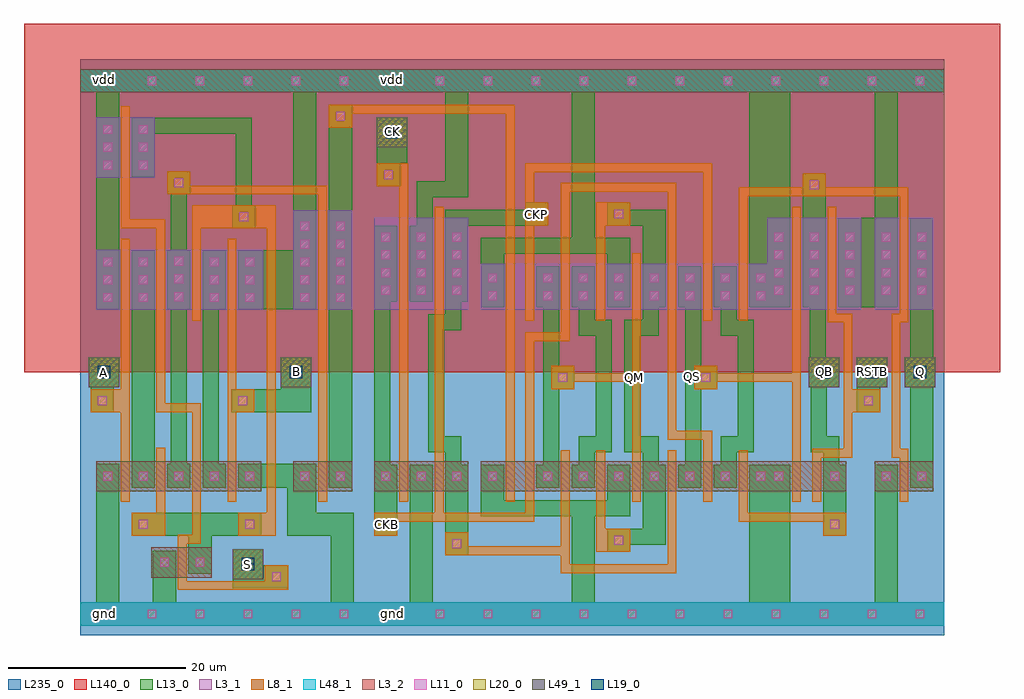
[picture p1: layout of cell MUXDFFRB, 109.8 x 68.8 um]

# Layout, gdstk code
import gdstk
lib = gdstk.Library(unit=1e-6, precision=1e-09)
def R(c, l, rs):  # rectangles x0, y0, x1, y1
    for r in rs: c.add(gdstk.rectangle(r[:2], r[2:], *l))
def A(c, l, x, y, w, h, nx, ny, dx, dy):  # array of equal rectangles
    R(c, l, [(x+i*dx, y+j*dy, x+i*dx+w, y+j*dy+h) for i in range(nx) for j in range(ny)])
def P(c, l, *ps):  # polygons
    for p in ps: c.add(gdstk.Polygon(p, *l))
L3_1 = (3, 1)
L3_2 = (3, 2)
L8_1 = (8, 1)
L11_0 = (11, 0)
L13_0 = (13, 0)
L19_0 = (19, 0)
L20_0 = (20, 0)
L48_1 = (48, 1)
L49_1 = (49, 1)
L140_0 = (140, 0)
L235_0 = (235, 0)

muxdffrb = lib.new_cell('MUXDFFRB')
R(muxdffrb, L3_1, [(0,1.1,32.4,3.7), (32.4,1.1,71.4,3.7), (71.4,1.1,97.2,3.7), (1.8,36.6,20.6,43.4), (24,36.6,30.6,47.8), (33.1,36.6,43.7,47), (45.1,36.6,71.4,41.8), (89.4,36.6,96,47), (1.8,51.5,8.4,58.3)])
P(muxdffrb, L3_1, [(71.4,36.6),(71.4,41.8),(77.3,41.8),(77.3,47),(87.9,47),(87.9,36.6)])
R(muxdffrb, L3_2, [(8,6.5,14.8,9.9), (1.8,16.2,20.4,19.6), (24,16.2,30.6,19.6), (33.1,16.2,43.7,19.6), (45.1,16.2,71.4,19.6), (71.4,16.2,86.2,19.6), (89.4,16.2,96,19.6), (0,61.1,32.4,63.7), (32.4,61.1,71.4,63.7), (71.4,61.1,97.2,63.7)])
P(muxdffrb, L8_1, [(58.1,9.4),(58.1,20.8),(59.1,20.8),(59.1,12),(61.9,12),(61.9,9.4)],
  [(54.1,7),(54.1,9),(41.1,9),(41.1,11.6),(43.7,11.6),(43.7,10),(54.1,10),(54.1,20.8),(55.1,20.8),(55.1,8),(66.1,8),(66.1,20.8),(67.1,20.8),(67.1,7)],
  [(83.6,11.2),(83.6,12.8),(74.1,12.8),(74.1,20.8),(75.1,20.8),(75.1,13.8),(86.2,13.8),(86.2,11.2)],
  [(5.8,11.2),(5.8,13.8),(8.6,13.8),(8.6,21.1),(9.6,21.1),(9.6,11.2)],
  [(62.1,15),(62.1,28.5),(55.6,28.5),(55.6,27.7),(53,27.7),(53,30.3),(55.6,30.3),(55.6,29.5),(62.1,29.5),(62.1,43),(63.1,43),(63.1,15)],
  [(4.6,15),(4.6,25.1),(1.2,25.1),(1.2,27.7),(4.6,27.7),(4.6,44.6),(5.6,44.6),(5.6,15)],
  [(16.6,15),(16.6,44.6),(17.6,44.6),(17.6,27.7),(19.6,27.7),(19.6,25.1),(17.6,25.1),(17.6,15)],
  [(80.1,15),(80.1,28.5),(71.7,28.5),(71.7,27.7),(69.1,27.7),(69.1,30.3),(71.7,30.3),(71.7,29.5),(80.1,29.5),(80.1,48.2),(81.1,48.2),(81.1,15)],
  [(82.4,15),(82.4,21),(85.9,21),(85.9,35.2),(84.1,35.2),(84.1,48.2),(85.1,48.2),(85.1,36.2),(86.9,36.2),(86.9,27.7),(90,27.7),(90,25.1),(86.9,25.1),(86.9,20),(83.4,20),(83.4,15)],
  [(17.8,11.2),(17.8,13.8),(21,13.8),(21,45.8),(13.6,45.8),(13.6,35.4),(12.6,35.4),(12.6,48.4),(22,48.4),(22,11.2)],
  [(58.1,35.4),(58.1,48.7),(61.9,48.7),(61.9,46.1),(59.1,46.1),(59.1,35.4)],
  [(33.1,11.2),(33.1,13.8),(39.9,13.8),(39.9,48.2),(40.9,48.2),(40.9,13.8),(50.1,13.8),(50.1,34.1),(54.1,34.1),(54.1,50.9),(67.1,50.9),(67.1,23),(71.1,23),(71.1,15),(70.1,15),(70.1,22),(66.1,22),(66.1,49.9),(55.1,49.9),(55.1,33.1),(51.1,33.1),(51.1,12.8),(35.7,12.8),(35.7,11.2)],
  [(92.2,15),(92.2,20),(91.3,20),(91.3,36.2),(92.2,36.2),(92.2,49.4),(75.1,49.4),(75.1,35.4),(74.1,35.4),(74.1,50.4),(81.3,50.4),(81.3,52),(83.9,52),(83.9,50.4),(93.2,50.4),(93.2,35.2),(92.3,35.2),(92.3,21),(93.2,21),(93.2,15)],
  [(26.8,15),(26.8,49.6),(9.8,49.6),(9.8,52.2),(12.4,52.2),(12.4,50.6),(27.8,50.6),(27.8,15)],
  [(35.9,15),(35.9,50.5),(33.4,50.5),(33.4,53.1),(36.9,53.1),(36.9,15)],
  [(50.1,35.4),(50.1,53.1),(71.1,53.1),(71.1,35.4),(70.1,35.4),(70.1,52.1),(51.1,52.1),(51.1,48.7),(52.7,48.7),(52.7,46.1),(51.1,46.1),(51.1,35.4)],
  [(11,5.1),(11,11.3),(12.6,11.3),(12.6,25.1),(8.6,25.1),(8.6,45.8),(4.6,45.8),(4.6,59.5),(5.6,59.5),(5.6,46.8),(9.6,46.8),(9.6,26.1),(13.6,26.1),(13.6,10.3),(12,10.3),(12,6.1),(20.8,6.1),(20.8,7.9),(23.4,7.9),(23.4,5.1)],
  [(47.9,15),(47.9,58.7),(30.6,58.7),(30.6,57.1),(28,57.1),(28,59.7),(48.9,59.7),(48.9,15)])
A(muxdffrb, L11_0, 2.2, 1.9, 1, 1, 18, 2, 5.4, 60)
A(muxdffrb, L11_0, 2.6, 17.4, 1, 1, 5, 1, 4, 0)
A(muxdffrb, L11_0, 33.9, 17.4, 1, 1, 4, 1, 4, 0)
A(muxdffrb, L11_0, 2.6, 37.5, 1, 1, 1, 3, 0, 2)
A(muxdffrb, L11_0, 6.6, 37.5, 1, 1, 1, 3, 0, 2)
A(muxdffrb, L11_0, 14.6, 37.5, 1, 1, 1, 3, 0, 2)
A(muxdffrb, L11_0, 18.6, 37.5, 1, 1, 1, 3, 0, 2)
A(muxdffrb, L11_0, 24.8, 37.5, 1, 1, 1, 5, 0, 2)
A(muxdffrb, L11_0, 28.8, 37.5, 1, 1, 1, 5, 0, 2)
A(muxdffrb, L11_0, 10.6, 37.6, 1, 1, 1, 3, 0, 2)
A(muxdffrb, L11_0, 33.9, 38.3, 1, 1, 3, 4, 4, 2)
A(muxdffrb, L11_0, 78.1, 40.3, 1, 1, 1, 3, 0, 2)
A(muxdffrb, L11_0, 2.6, 52.4, 1, 1, 1, 3, 0, 2)
A(muxdffrb, L11_0, 6.6, 52.4, 1, 1, 1, 3, 0, 2)
R(muxdffrb, L11_0, [(21.6,6.1,22.6,7.1), (9,7.7,10,8.7), (13,7.7,14,8.7), (41.9,9.8,42.9,10.8), (60.1,10.2,61.1,11.2), (6.6,12,7.6,13), (18.6,12,19.6,13), (33.9,12,34.9,13), (84.4,12,85.4,13), (24.8,17.4,25.8,18.4), (28.8,17.4,29.8,18.4), (52.1,17.4,53.1,18.4), (52.1,17.4,53.1,18.4), (56.1,17.4,57.1,18.4), (56.1,17.4,57.1,18.4), (60.1,17.4,61.1,18.4), (60.1,17.4,61.1,18.4), (60.1,17.4,61.1,18.4), (60.1,17.4,61.1,18.4), (64.1,17.4,65.1,18.4), (64.1,17.4,65.1,18.4), (68.1,17.4,69.1,18.4), (68.1,17.4,69.1,18.4), (68.1,17.4,69.1,18.4), (68.1,17.4,69.1,18.4), (72.1,17.4,73.1,18.4), (72.1,17.4,73.1,18.4), (76.1,17.4,77.1,18.4), (78.1,17.4,79.1,18.4), (78.1,17.4,79.1,18.4), (78.1,17.4,79.1,18.4), (78.1,17.4,79.1,18.4), (78.1,17.4,79.1,18.4), (78.1,17.4,79.1,18.4), (84.4,17.4,85.4,18.4), (90.2,17.4,91.2,18.4), (90.2,17.4,91.2,18.4), (94.2,17.4,95.2,18.4), (2,25.9,3,26.9), (17.8,25.9,18.8,26.9), (88.2,25.9,89.2,26.9), (53.8,28.5,54.8,29.5), (69.9,28.5,70.9,29.5), (45.9,37.7,46.9,38.7), (52.1,37.7,53.1,38.7), (52.1,37.7,53.1,38.7), (56.1,37.7,57.1,38.7), (56.1,37.7,57.1,38.7), (60.1,37.7,61.1,38.7), (60.1,37.7,61.1,38.7), (60.1,37.7,61.1,38.7), (60.1,37.7,61.1,38.7), (64.1,37.7,65.1,38.7), (64.1,37.7,65.1,38.7), (68.1,37.7,69.1,38.7), (68.1,37.7,69.1,38.7), (68.1,37.7,69.1,38.7), (68.1,37.7,69.1,38.7), (72.1,37.7,73.1,38.7), (72.1,37.7,73.1,38.7), (76.1,37.7,77.1,38.7), (78.1,38.3,79.1,39.3), (78.1,38.3,79.1,39.3), (78.1,38.3,79.1,39.3), (78.1,38.3,79.1,39.3), (78.1,38.3,79.1,39.3), (82.1,38.3,83.1,39.3), (82.1,38.3,83.1,39.3), (82.1,38.3,83.1,39.3), (86.1,38.3,87.1,39.3), (86.1,38.3,87.1,39.3), (86.1,38.3,87.1,39.3), (90.2,38.3,91.2,39.3), (90.2,38.3,91.2,39.3), (94.2,38.3,95.2,39.3), (94.2,38.3,95.2,39.3), (45.9,39.7,46.9,40.7), (52.1,39.7,53.1,40.7), (52.1,39.7,53.1,40.7), (56.1,39.7,57.1,40.7), (56.1,39.7,57.1,40.7), (60.1,39.7,61.1,40.7), (60.1,39.7,61.1,40.7), (60.1,39.7,61.1,40.7), (60.1,39.7,61.1,40.7), (64.1,39.7,65.1,40.7), (64.1,39.7,65.1,40.7), (68.1,39.7,69.1,40.7), (68.1,39.7,69.1,40.7), (68.1,39.7,69.1,40.7), (68.1,39.7,69.1,40.7), (72.1,39.7,73.1,40.7), (72.1,39.7,73.1,40.7), (76.1,39.7,77.1,40.7), (78.1,40.3,79.1,41.3), (78.1,40.3,79.1,41.3), (78.1,40.3,79.1,41.3), (78.1,40.3,79.1,41.3), (78.1,40.3,79.1,41.3), (82.1,40.3,83.1,41.3), (82.1,40.3,83.1,41.3), (82.1,40.3,83.1,41.3), (86.1,40.3,87.1,41.3), (86.1,40.3,87.1,41.3), (86.1,40.3,87.1,41.3), (90.2,40.3,91.2,41.3), (90.2,40.3,91.2,41.3), (94.2,40.3,95.2,41.3), (94.2,40.3,95.2,41.3), (82.1,42.3,83.1,43.3), (82.1,42.3,83.1,43.3), (82.1,42.3,83.1,43.3), (86.1,42.3,87.1,43.3), (86.1,42.3,87.1,43.3), (86.1,42.3,87.1,43.3), (90.2,42.3,91.2,43.3), (90.2,42.3,91.2,43.3), (90.2,42.3,91.2,43.3), (90.2,42.3,91.2,43.3), (94.2,42.3,95.2,43.3), (94.2,42.3,95.2,43.3), (82.1,44.3,83.1,45.3), (82.1,44.3,83.1,45.3), (82.1,44.3,83.1,45.3), (86.1,44.3,87.1,45.3), (86.1,44.3,87.1,45.3), (86.1,44.3,87.1,45.3), (90.2,44.3,91.2,45.3), (90.2,44.3,91.2,45.3), (90.2,44.3,91.2,45.3), (90.2,44.3,91.2,45.3), (94.2,44.3,95.2,45.3), (94.2,44.3,95.2,45.3), (17.9,46.6,18.9,47.6), (50.9,46.9,51.9,47.9), (60.1,46.9,61.1,47.9), (82.1,50.2,83.1,51.2), (10.6,50.4,11.6,51.4), (34.2,51.3,35.2,52.3), (28.8,57.9,29.8,58.9)])
R(muxdffrb, L13_0, [(0,1.1,32.4,3.7), (32.4,1.1,71.4,3.7), (71.4,1.1,97.2,3.7), (1.8,3.7,4.4,19.3), (8.2,3.7,10.8,9.5), (37.1,3.7,39.7,19.2), (75.3,3.7,79.9,19.2), (89.4,3.7,92,19.2), (5.8,16.6,8.4,43.3), (28,16.6,30.6,59.7), (1.8,36.7,4.4,61.1), (75.3,36.9,79.9,61.1), (0,61.1,32.4,63.7), (32.4,61.1,71.4,63.7), (71.4,61.1,97.2,63.7)])
P(muxdffrb, L13_0, [(17.2,5.3),(17.2,9.7),(20.6,9.7),(20.6,7.9),(23.4,7.9),(23.4,5.3)],
  [(12.2,6.9),(12.2,11.2),(5.8,11.2),(5.8,13.8),(20.4,13.8),(20.4,11.2),(14.8,11.2),(14.8,6.9)],
  [(55.3,3.7),(55.3,13.4),(45.1,13.4),(45.1,19.2),(47.7,19.2),(47.7,15.2),(59.3,15.2),(59.3,19.2),(61.9,19.2),(61.9,13.4),(57.9,13.4),(57.9,3.7)],
  [(28.2,3.7),(28.2,11.2),(23.3,11.2),(23.3,16.6),(17.8,16.6),(17.8,19.3),(26.6,19.3),(26.6,13.8),(30.8,13.8),(30.8,3.7)],
  [(1.2,25.1),(1.2,27.9),(1,27.9),(1,31.3),(4.4,31.3),(4.4,27.9),(3.8,27.9),(3.8,25.1)],
  [(17,25.1),(17,27.7),(22.6,27.7),(22.6,31.3),(26,31.3),(26,25.1)],
  [(87.4,25.1),(87.4,31.3),(90.8,31.3),(90.8,27.9),(90,27.9),(90,25.1)],
  [(51.3,16.6),(51.3,19.2),(52.1,19.2),(52.1,36.9),(51.3,36.9),(51.3,41.5),(53.9,41.5),(53.9,30.3),(55.6,30.3),(55.6,27.7),(53.9,27.7),(53.9,16.6)],
  [(55.3,16.6),(55.3,19.2),(56.1,19.2),(56.1,22.4),(58,22.4),(58,33.7),(56.1,33.7),(56.1,36.9),(55.3,36.9),(55.3,41.5),(57.9,41.5),(57.9,35.5),(59.8,35.5),(59.8,20.6),(57.9,20.6),(57.9,16.6)],
  [(67.3,16.6),(67.3,19.2),(68.1,19.2),(68.1,36.9),(67.3,36.9),(67.3,41.5),(69.9,41.5),(69.9,30.3),(71.7,30.3),(71.7,27.7),(69.9,27.7),(69.9,16.6)],
  [(71.3,16.6),(71.3,19.2),(72.1,19.2),(72.1,22.4),(74,22.4),(74,33.7),(72.1,33.7),(72.1,36.9),(71.3,36.9),(71.3,41.5),(73.9,41.5),(73.9,35.5),(75.8,35.5),(75.8,20.6),(73.9,20.6),(73.9,16.6)],
  [(13.8,16.6),(13.8,43.3),(16.4,43.3),(16.4,36.7),(15.6,36.7),(15.6,19.3),(16.4,19.3),(16.4,16.6)],
  [(33.1,11.2),(33.1,46.1),(35.7,46.1),(35.7,37.5),(34.9,37.5),(34.9,19.2),(35.7,19.2),(35.7,11.2)],
  [(93.4,16.6),(93.4,27.9),(92.8,27.9),(92.8,31.3),(93.4,31.3),(93.4,47),(96,47),(96,31.3),(96.2,31.3),(96.2,27.9),(96,27.9),(96,16.6)],
  [(41.1,9),(41.1,20.6),(39.2,20.6),(39.2,36.1),(41.1,36.1),(41.1,47.9),(50.1,47.9),(50.1,48.7),(52.7,48.7),(52.7,46.1),(43.7,46.1),(43.7,37.5),(42.9,37.5),(42.9,34.3),(41,34.3),(41,22.4),(42.9,22.4),(42.9,19.2),(43.7,19.2),(43.7,9)],
  [(59.3,9.4),(59.3,12),(63.3,12),(63.3,20.6),(61.2,20.6),(61.2,35.5),(63.3,35.5),(63.3,46.1),(59.3,46.1),(59.3,48.7),(61.9,48.7),(61.9,47.9),(65.9,47.9),(65.9,36.9),(65.1,36.9),(65.1,33.7),(63,33.7),(63,22.4),(65.1,22.4),(65.1,19.2),(65.9,19.2),(65.9,10.2),(61.9,10.2),(61.9,9.4)],
  [(83.6,11.2),(83.6,20.6),(82.2,20.6),(82.2,27.9),(82,27.9),(82,31.3),(82.1,31.3),(82.1,36.9),(81.3,36.9),(81.3,52),(83.9,52),(83.9,31.3),(85.4,31.3),(85.4,27.9),(84,27.9),(84,22.4),(85.4,22.4),(85.4,19.2),(86.2,19.2),(86.2,11.2)],
  [(9.8,16.6),(9.8,19.3),(10.2,19.3),(10.2,36.7),(9.8,36.7),(9.8,43.3),(10.2,43.3),(10.2,49.6),(9.8,49.6),(9.8,52.2),(12.4,52.2),(12.4,49.6),(12,49.6),(12,43.3),(12.4,43.3),(12.4,36.7),(12,36.7),(12,19.3),(12.4,19.3),(12.4,16.6)],
  [(17.1,45.8),(17.1,48.4),(17.5,48.4),(17.5,56.4),(8.4,56.4),(8.4,51.6),(5.8,51.6),(5.8,58.2),(19.3,58.2),(19.3,48.4),(19.7,48.4),(19.7,45.8)],
  [(33.4,50.5),(33.4,58.3),(36.8,58.3),(36.8,53.1),(36,53.1),(36,50.5)],
  [(17.8,36.7),(17.8,43.3),(24,43.3),(24,61.1),(26.6,61.1),(26.6,36.7)],
  [(37.1,37.5),(37.1,46.1),(37.9,46.1),(37.9,51.1),(41.1,51.1),(41.1,61.1),(43.7,61.1),(43.7,49.3),(39.7,49.3),(39.7,37.5)],
  [(45.1,36.9),(45.1,44.7),(55.3,44.7),(55.3,61.1),(57.9,61.1),(57.9,44.7),(61.9,44.7),(61.9,36.9),(59.3,36.9),(59.3,42.9),(47.7,42.9),(47.7,36.9)],
  [(85.3,36.9),(85.3,47),(89.4,47),(89.4,61.1),(92,61.1),(92,36.9)])
A(muxdffrb, L19_0, 83, 28.9, 1.4, 1.4, 3, 1, 5.4, 0)
R(muxdffrb, L19_0, [(18.2,7.3,19.6,8.7), (2,28.9,3.4,30.3), (2,28.9,3.4,30.3), (2,28.9,3.4,30.3), (23.6,28.9,25,30.3), (23.6,28.9,25,30.3), (23.6,28.9,25,30.3), (23.6,28.9,25,30.3), (83,28.9,84.4,30.3), (34.4,55.9,35.8,57.3)])
A(muxdffrb, L20_0, 82, 27.9, 3.4, 3.4, 3, 1, 5.4, 0)
R(muxdffrb, L20_0, [(17.2,6.3,20.6,9.7), (1,27.9,4.4,31.3), (1,27.9,4.4,31.3), (1,27.9,4.4,31.3), (22.6,27.9,26,31.3), (22.6,27.9,26,31.3), (22.6,27.9,26,31.3), (22.6,27.9,26,31.3), (82,27.9,85.4,31.3), (33.4,54.9,36.8,58.3)])
R(muxdffrb, L48_1, [(0,1.1,32.4,3.7), (32.4,1.1,71.4,3.7), (32.4,1.1,97.2,3.7), (0,61.1,32.4,63.7), (32.4,61.1,71.4,63.7), (32.4,61.1,97.2,63.7)])
A(muxdffrb, L49_1, 82, 27.9, 3.4, 3.4, 3, 1, 5.4, 0)
R(muxdffrb, L49_1, [(17.2,6.3,20.6,9.7), (1,27.9,4.4,31.3), (22.6,27.9,26,31.3), (82,27.9,85.4,31.3), (33.4,54.9,36.8,58.3)])
R(muxdffrb, L140_0, [(-6.3,29.6,103.5,68.8)])
R(muxdffrb, L235_0, [(0,0,97.2,64.8)])
muxdffrb.add(gdstk.Label('gnd', (2.7,2.4), layer=48, texttype=0))
muxdffrb.add(gdstk.Label('vdd', (2.7,62.5), layer=48, texttype=0))
muxdffrb.add(gdstk.Label('CKP', (51.4,47.3), layer=48, texttype=0))
muxdffrb.add(gdstk.Label('vdd', (35.2,62.5), layer=48, texttype=0))
muxdffrb.add(gdstk.Label('gnd', (35.2,2.4), layer=48, texttype=0))
muxdffrb.add(gdstk.Label('QS', (68.9,29.1), layer=48, texttype=0))
muxdffrb.add(gdstk.Label('QM', (62.4,29), layer=48, texttype=0))
muxdffrb.add(gdstk.Label('CKB', (34.5,12.5), layer=48, texttype=0))
muxdffrb.add(gdstk.Label('gnd', (35.1,2.4), layer=48, texttype=0))
muxdffrb.add(gdstk.Label('vdd', (35.1,62.5), layer=48, texttype=0))
muxdffrb.add(gdstk.Label('A', (2.6,29.6), layer=49, texttype=0))
muxdffrb.add(gdstk.Label('B', (24.3,29.7), layer=49, texttype=0))
muxdffrb.add(gdstk.Label('S', (18.8,8), layer=49, texttype=0))
muxdffrb.add(gdstk.Label('RSTB', (89.1,29.7), layer=49, texttype=0))
muxdffrb.add(gdstk.Label('CK', (35.2,56.7), layer=49, texttype=0))
muxdffrb.add(gdstk.Label('QB', (83.7,29.7), layer=49, texttype=0))
muxdffrb.add(gdstk.Label('QB', (83.7,29.7), layer=49, texttype=0))
muxdffrb.add(gdstk.Label('Q', (94.5,29.7), layer=49, texttype=0))

lib.write_gds('MUXDFFRB.gds')
